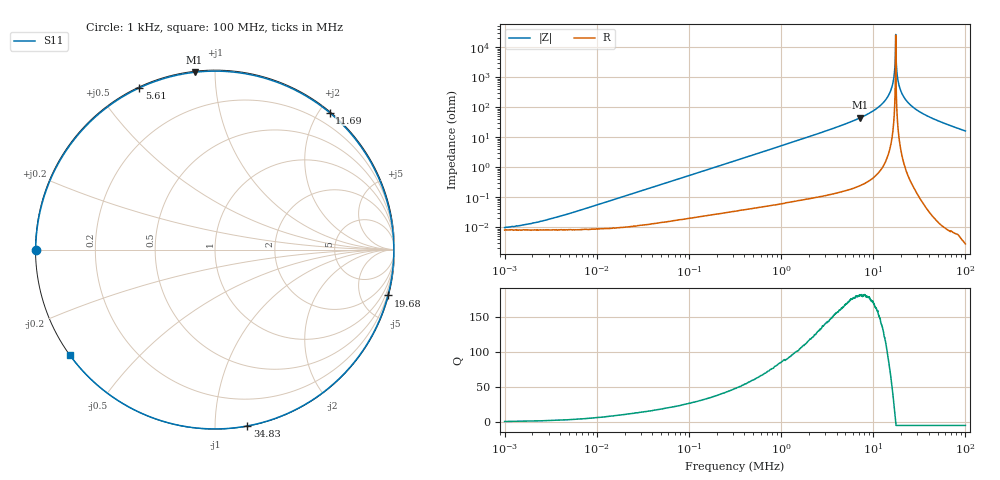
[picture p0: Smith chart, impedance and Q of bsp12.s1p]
! AWR Design Environment (7670) Sun Feb 07 14:30:45 2016
! Document = 'messungen'
! nPorts: 1, nXvals: 5001
# HZ S MA R 50
!Freq MagS11 AngS11
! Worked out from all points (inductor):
!   5001 points, 1 kHz to 100 MHz, reference 50 ohm
!   read as one part to ground: L = 867 nH near 4.406 kHz
!   highest Q = 182 at 7.261 MHz (marker M1), where L = 977 nH
!   self-resonance near 17.5 MHz
!   S11 on the Smith chart (normalised r, x): 1 kHz: 0.00, +0.00; 5.61 MHz: 0.00, +0.64; 11.69 MHz: 0.01, +2.14; 19.68 MHz: 0.09, -7.68; 34.83 MHz: 0.00, -1.20; 100 MHz: 0.00, -0.32
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1000  0.9997 180.0
4226.686  0.9997 179.9
17823.79  0.9996 179.8
74989.42  0.9993 179.1
316227.8  0.9986 176.3
703072.3  0.998 171.7
1336596  0.9972 164.3
2157744  0.9965 154.8
3126079  0.9959 143.6
4265795  0.9953 130.4
5610480  0.9948 115.1
5623413  0.9948 114.9
7261060  0.9946 96.6
8298508  0.9945 85.2
9354057  0.9945 73.9
1.047128e7  0.9946 62.3
1.169499e7  0.9949 50.1
1.355189e7  0.9954 32.6
1.5417e7  0.9958 16.5
1.741807e7  0.9963 0.8
1.967886e7  0.9969 -14.8
2.37684e7  0.9977 -38.3
2.870781e7  0.9984 -60.0
3.483373e7  0.999 -79.6
4.335109e7  0.9994 -98.6
5.754399e7  0.9997 -118.3
7.516229e7  0.9998 -132.6
1e8  0.9999 -144.3
